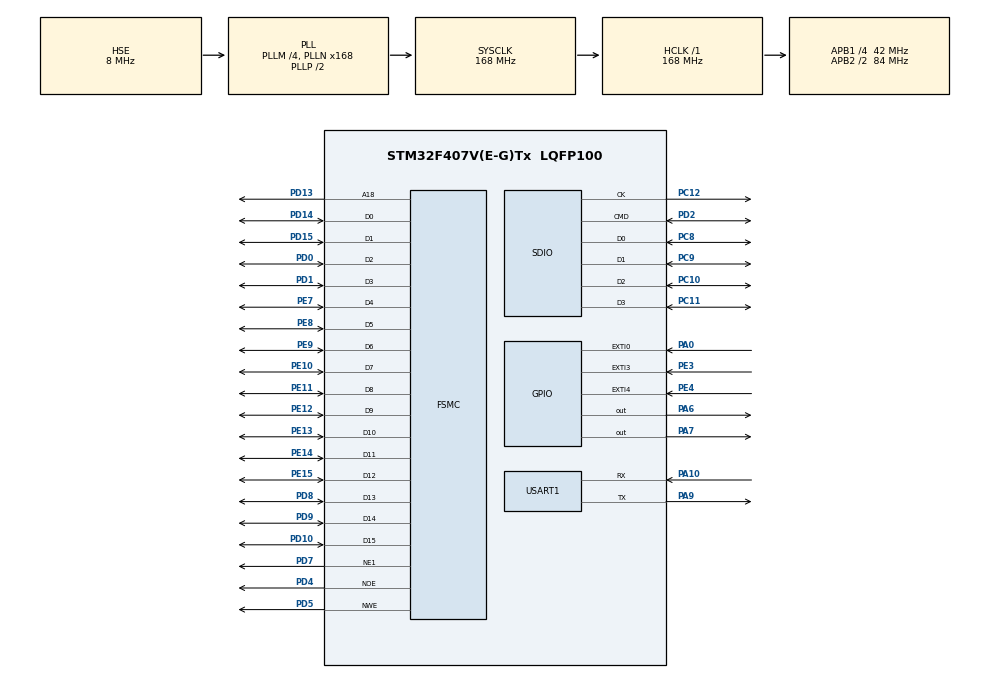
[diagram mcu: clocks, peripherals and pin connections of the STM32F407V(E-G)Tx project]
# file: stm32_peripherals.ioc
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Mcu.Family=STM32F4
Mcu.Name=STM32F407V(E-G)Tx
Mcu.Package=LQFP100
NVIC.EXTI0_IRQn=true\:0\:0\:false\:false\:true\:true\:true\:true
NVIC.EXTI3_IRQn=true\:0\:0\:false\:false\:true\:true\:true\:true
NVIC.EXTI4_IRQn=true\:0\:0\:false\:false\:true\:true\:true\:true
NVIC.PriorityGroup=NVIC_PRIORITYGROUP_4
NVIC.SDIO_IRQn=true\:0\:0\:false\:false\:true\:true\:true\:true
NVIC.USART1_IRQn=true\:0\:0\:false\:false\:true\:true\:true\:true
PA0-WKUP.GPIO_ModeDefaultEXTI=GPIO_MODE_IT_RISING_FALLING
PA0-WKUP.Signal=GPXTI0
PA10.Mode=Asynchronous
PA10.Signal=USART1_RX
PA13.Mode=Serial_Wire
PA13.Signal=SYS_JTMS-SWDIO
PA14.Mode=Serial_Wire
PA14.Signal=SYS_JTCK-SWCLK
PA6.Signal=GPIO_Output
PA7.Signal=GPIO_Output
PA9.Mode=Asynchronous
PA9.Signal=USART1_TX
PC10.Mode=SD_4_bits_Wide_bus
PC10.Signal=SDIO_D2
PC11.Mode=SD_4_bits_Wide_bus
PC11.Signal=SDIO_D3
PC12.Mode=SD_4_bits_Wide_bus
PC12.Signal=SDIO_CK
PC8.Mode=SD_4_bits_Wide_bus
PC8.Signal=SDIO_D0
PC9.Mode=SD_4_bits_Wide_bus
PC9.Signal=SDIO_D1
PD0.Mode=16b-d1
PD0.Signal=FSMC_D2
PD1.Mode=16b-d1
PD1.Signal=FSMC_D3
PD10.Mode=16b-d1
PD10.Signal=FSMC_D15
PD13.Mode=A18_1
PD13.Signal=FSMC_A18
PD14.Mode=16b-d1
PD14.Signal=FSMC_D0
PD15.Mode=16b-d1
PD15.Signal=FSMC_D1
PD2.Mode=SD_4_bits_Wide_bus
PD2.Signal=SDIO_CMD
PD4.Mode=Lcd1
PD4.Signal=FSMC_NOE
PD5.Mode=Lcd1
PD5.Signal=FSMC_NWE
PD7.Mode=NorPsramChipSelect1_1
PD7.Signal=FSMC_NE1
PD8.Mode=16b-d1
PD8.Signal=FSMC_D13
PD9.Mode=16b-d1
PD9.Signal=FSMC_D14
PE10.Mode=16b-d1
PE10.Signal=FSMC_D7
PE11.Mode=16b-d1
PE11.Signal=FSMC_D8
PE12.Mode=16b-d1
PE12.Signal=FSMC_D9
PE13.Mode=16b-d1
PE13.Signal=FSMC_D10
PE14.Mode=16b-d1
PE14.Signal=FSMC_D11
PE15.Mode=16b-d1
PE15.Signal=FSMC_D12
PE3.GPIO_ModeDefaultEXTI=GPIO_MODE_IT_RISING_FALLING
PE3.GPIO_PuPd=GPIO_PULLUP
PE3.Signal=GPXTI3
PE4.GPIO_ModeDefaultEXTI=GPIO_MODE_IT_RISING_FALLING
PE4.GPIO_PuPd=GPIO_PULLUP
PE4.Signal=GPXTI4
PE7.Mode=16b-d1
PE7.Signal=FSMC_D4
PE8.Mode=16b-d1
PE8.Signal=FSMC_D5
PE9.Mode=16b-d1
PE9.Signal=FSMC_D6
PH0-OSC_IN.Mode=HSE-External-Oscillator
PH0-OSC_IN.Signal=RCC_OSC_IN
PH1-OSC_OUT.Mode=HSE-External-Oscillator
PH1-OSC_OUT.Signal=RCC_OSC_OUT
ProjectManager.HeapSize=0x200
ProjectManager.StackSize=0x400
ProjectManager.TargetToolchain=STM32CubeIDE
RCC.48MHZClocksFreq_Value=48000000
RCC.AHBFreq_Value=168000000
RCC.APB1CLKDivider=RCC_HCLK_DIV4
RCC.APB1Freq_Value=42000000
RCC.APB1TimFreq_Value=84000000
RCC.APB2CLKDivider=RCC_HCLK_DIV2
RCC.APB2Freq_Value=84000000
RCC.APB2TimFreq_Value=168000000
RCC.CortexFreq_Value=168000000
RCC.HCLKFreq_Value=168000000
RCC.HSE_VALUE=8000000
RCC.HSI_VALUE=16000000
RCC.LSE_VALUE=32768
RCC.PLLM=4
RCC.PLLN=168
RCC.PLLQ=7
RCC.PLLSourceVirtual=RCC_PLLSOURCE_HSE
RCC.SYSCLKFreq_VALUE=168000000
RCC.SYSCLKSource=RCC_SYSCLKSOURCE_PLLCLK
RCC.VCOOutputFreq_Value=336000000
USART1.VirtualMode=VM_ASYNC
board=custom

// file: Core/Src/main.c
/* USER CODE BEGIN Header */
/**
  ******************************************************************************
  * @file           : main.c
  * @brief          : Main program body
  ******************************************************************************
  * @attention
  *
  * Copyright (c) 2023 STMicroelectronics.
  * All rights reserved.
  *
  * This software is licensed under terms that can be found in the LICENSE file
  * in the root directory of this software component.
  * If no LICENSE file comes with this software, it is provided AS-IS.
  *
  ******************************************************************************
  */
/* USER CODE END Header */
#include "main.h"
#include "sdio.h"
#include "usart.h"
#include "gpio.h"
#include "fsmc.h"

/* USER CODE BEGIN Includes */
#include "../../External_Libs/btn_manage/include/stm_button.h"
#include "../../External_Libs/stm_log/include/stm_log.h"
/* USER CODE END Includes */

void SystemClock_Config(void);

/* USER CODE BEGIN 0 */
uint8_t buffer[6];

static const char* TAG = "APP_MAIN";

void button_callback(void *user, int pin, btn_ev_t event) {
	if (event == BUTTON_EVENT_PRESS) {
		STM_LOGI(TAG, "BUTTON_EVENT_PRESS [%d]", pin);
	} else if (event == BUTTON_EVENT_LONG_PRESS) {
		STM_LOGI(TAG, "BUTTON_EVENT_LONG_PRESS [%d]", pin);
	} else if (event == BUTTON_EVENT_DOUBLE_PRESS) {
		STM_LOGI(TAG, "BUTTON_EVENT_DOUBLE_PRESS [%d]", pin);
	}
}

/* USER CODE END 0 */

int main(void)
{

  /* MCU Configuration--------------------------------------------------------*/

  /* Reset of all peripherals, Initializes the Flash interface and the Systick. */
  HAL_Init();

  /* Configure the system clock */
  SystemClock_Config();

  /* Initialize all configured peripherals */
  MX_GPIO_Init();
  MX_USART1_UART_Init();
  MX_SDIO_SD_Init();
  MX_FSMC_Init();
  /* USER CODE BEGIN 2 */
  STM_Logging_Init(&huart1, STM_LOG_LEVEL_INFO);
  HAL_UART_Receive_IT(&huart1, buffer, 6);
  btn_manage_cfg_t btn_cfg = {
	  .long_press_timeout = 2000,
	  .multi_press = 5,
	  .num_btns = 3,
	  .press_timeout = 200,
  };
  btn_manage_init(&btn_cfg);
  btn_register_event_callback(button_callback, NULL);
  btn_manage_add_new_button(GPIO_PIN_0, BUTTON_EVENT_PRESS | BUTTON_EVENT_DOUBLE_PRESS | BUTTON_EVENT_LONG_PRESS);
  btn_manage_add_new_button(GPIO_PIN_3, BUTTON_EVENT_PRESS | BUTTON_EVENT_DOUBLE_PRESS | BUTTON_EVENT_LONG_PRESS);
  btn_manage_add_new_button(GPIO_PIN_4, BUTTON_EVENT_PRESS | BUTTON_EVENT_DOUBLE_PRESS | BUTTON_EVENT_LONG_PRESS);
  HAL_SD_CardInfoTypeDef CardInfo;
  HAL_SD_GetCardInfo(&hsd, &CardInfo);
//  STM_LOGI(TAG, "----------------------------------");
//  STM_LOGI(TAG, "Card Info :CardType %ld", CardInfo.CardType);
//  STM_LOGI(TAG, "Card Info :CardVersion %ld", CardInfo.CardVersion);
//  STM_LOGI(TAG, "Card Info :Class %ld", CardInfo.Class);
//  STM_LOGI(TAG, "Card Info :RelCardAdd %ld", CardInfo.RelCardAdd);
//  STM_LOGI(TAG, "Card Info :BlockNbr %ld", CardInfo.BlockNbr);
  /* USER CODE END 2 */

  /* Infinite loop */
  /* USER CODE BEGIN WHILE */
  HAL_GPIO_WritePin(GPIOA, GPIO_PIN_6, 1);
  HAL_GPIO_WritePin(GPIOA, GPIO_PIN_7, 0);

  uint32_t running_tick = HAL_GetTick();
  while (1)
  {
	  if (HAL_GetTick() - running_tick > 5000) {
		  running_tick = HAL_GetTick();
		  HAL_GPIO_TogglePin(GPIOA, GPIO_PIN_7);
		  HAL_GPIO_TogglePin(GPIOA, GPIO_PIN_6);
	  }
	  btn_manage_process();
    /* USER CODE END WHILE */

  }
}

void SystemClock_Config(void)
{
  RCC_OscInitTypeDef RCC_OscInitStruct = {0};
  RCC_ClkInitTypeDef RCC_ClkInitStruct = {0};

  /** Configure the main internal regulator output voltage
  */
  __HAL_RCC_PWR_CLK_ENABLE();
  __HAL_PWR_VOLTAGESCALING_CONFIG(PWR_REGULATOR_VOLTAGE_SCALE1);

  /** Initializes the RCC Oscillators according to the specified parameters
  * in the RCC_OscInitTypeDef structure.
  */
  RCC_OscInitStruct.OscillatorType = RCC_OSCILLATORTYPE_HSE;
  RCC_OscInitStruct.HSEState = RCC_HSE_ON;
  RCC_OscInitStruct.PLL.PLLState = RCC_PLL_ON;
  RCC_OscInitStruct.PLL.PLLSource = RCC_PLLSOURCE_HSE;
  RCC_OscInitStruct.PLL.PLLM = 4;
  RCC_OscInitStruct.PLL.PLLN = 168;
  RCC_OscInitStruct.PLL.PLLP = RCC_PLLP_DIV2;
  RCC_OscInitStruct.PLL.PLLQ = 7;
  if (HAL_RCC_OscConfig(&RCC_OscInitStruct) != HAL_OK)
  {
    Error_Handler();
  }

  /** Initializes the CPU, AHB and APB buses clocks
  */
  RCC_ClkInitStruct.ClockType = RCC_CLOCKTYPE_HCLK|RCC_CLOCKTYPE_SYSCLK
                              |RCC_CLOCKTYPE_PCLK1|RCC_CLOCKTYPE_PCLK2;
  RCC_ClkInitStruct.SYSCLKSource = RCC_SYSCLKSOURCE_PLLCLK;
  RCC_ClkInitStruct.AHBCLKDivider = RCC_SYSCLK_DIV1;
  RCC_ClkInitStruct.APB1CLKDivider = RCC_HCLK_DIV4;
  RCC_ClkInitStruct.APB2CLKDivider = RCC_HCLK_DIV2;

  if (HAL_RCC_ClockConfig(&RCC_ClkInitStruct, FLASH_LATENCY_5) != HAL_OK)
  {
    Error_Handler();
  }
}

/* USER CODE BEGIN 4 */
void HAL_UART_RxCpltCallback(UART_HandleTypeDef *huart) {
	if (huart->Instance == huart1.Instance) {
		 HAL_UART_Transmit(&huart1, buffer, 6, 100);
		 HAL_UART_Receive_IT(&huart1, buffer, 6);
	}
}

void HAL_GPIO_EXTI_Callback(uint16_t GPIO_Pin) {
	if (GPIO_Pin == GPIO_PIN_4) {
		if (HAL_GPIO_ReadPin(GPIOE, GPIO_PIN_4) == 0){
			btn_manage_update_state(GPIO_PIN_4, BUTTON_STATE_RISING);
		} else {
			btn_manage_update_state(GPIO_PIN_4, BUTTON_STATE_FAILLING);
		}
	} else if (GPIO_Pin == GPIO_PIN_3) {
		if (HAL_GPIO_ReadPin(GPIOE, GPIO_PIN_3) == 0){
			btn_manage_update_state(GPIO_PIN_3, BUTTON_STATE_RISING);
		} else {
			btn_manage_update_state(GPIO_PIN_3, BUTTON_STATE_FAILLING);
		}
	} else if (GPIO_Pin == GPIO_PIN_0) {
		if (HAL_GPIO_ReadPin(GPIOA, GPIO_PIN_0) == 0){
			btn_manage_update_state(GPIO_PIN_0, BUTTON_STATE_RISING);
		} else {
			btn_manage_update_state(GPIO_PIN_0, BUTTON_STATE_FAILLING);
		}
	}
}

/* USER CODE END 4 */

void Error_Handler(void)
{
  /* USER CODE BEGIN Error_Handler_Debug */
  STM_LOGE(TAG, "ERROR -----[]----- ");
  /* User can add his own implementation to report the HAL error return state */
  __disable_irq();
  while (1)
  {
  }
  /* USER CODE END Error_Handler_Debug */
}
